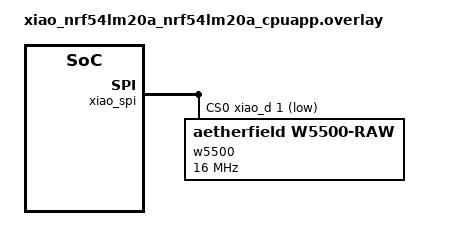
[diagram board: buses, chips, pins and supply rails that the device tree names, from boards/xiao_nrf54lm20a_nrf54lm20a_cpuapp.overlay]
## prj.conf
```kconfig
# Aetherfield gateway factory test — XIAO nRF54LM20A + W5500.
#
# Same build shape as the production gateway: raw 802.15.4, no Zephyr IP
# stack (the W5500 runs TCP/IP in silicon and is driven over SPI).

# --- 802.15.4 raw mode ------------------------------------------------------
CONFIG_NETWORKING=y
CONFIG_IEEE802154=y
CONFIG_IEEE802154_RAW_MODE=y
CONFIG_NET_PKT_TIMESTAMP=y
CONFIG_NRF_802154_RX_BUFFERS=16

CONFIG_MAIN_STACK_SIZE=4096
CONFIG_HEAP_MEM_POOL_SIZE=8192

# --- W5500 ------------------------------------------------------------------
CONFIG_SPI=y
CONFIG_GPIO=y
CONFIG_HWINFO=y

# --- console / shell (USB-C, via the onboard SAMD11) ------------------------
CONFIG_SHELL=y
CONFIG_SHELL_BACKEND_SERIAL=y
CONFIG_SHELL_VT100_COLORS=n
CONFIG_SHELL_PROMPT_UART="test> "

CONFIG_LOG=y
CONFIG_LOG_MODE_DEFERRED=y

# The board's nPM1300 PMIC provides the 3V3 rail; keep regulators enabled.
CONFIG_REGULATOR=y
```

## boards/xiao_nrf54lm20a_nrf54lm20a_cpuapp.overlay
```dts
/*
 * Aetherfield gateway factory test — Seeed XIAO nRF54LM20A on the Seeed XIAO
 * W5500 Ethernet Adapter. Pinout matches the production gateway firmware.
 *
 *   W5500 SCK   D8    P1.04   |
 *   W5500 MISO  D9    P1.05   |  spi23 (xiao_spi), the XIAO SPI header
 *   W5500 MOSI  D10   P1.06   |
 *   W5500 CS    D1    P1.31
 *   W5500 INT   not routed  -> test 4 reports SKIP
 *   W5500 RST   not routed  -> software reset (MR bit 7)
 *
 * >>> If the adapter is ever revised to route INT or RST to the XIAO, add
 * >>> int-gpios / reset-gpios below (e.g. <&xiao_d 2 GPIO_ACTIVE_LOW>) and the
 * >>> test will exercise them. That is the only edit this file should need.
 */

&xiao_spi {
	status = "okay";
	cs-gpios = <&xiao_d 1 GPIO_ACTIVE_LOW>;          /* W5500 CS -> D1 */

	w5500: w5500@0 {
		compatible = "aetherfield,w5500-raw";
		reg = <0>;
		spi-max-frequency = <16000000>;
	};
};

/* Native USB is unused (console goes through the onboard SAMD11 on uart20).
 * Disable the wrapper as well as the device, as in the gateway firmware. */
&usbhs_wrapper {
	status = "disabled";
};

&usbhs {
	status = "disabled";
};

/* The plain (non-Sense) XIAO has no IMU fitted; stop its driver logging an
 * error on every boot. */
&lsm6ds3tr_c {
	status = "disabled";
};
```

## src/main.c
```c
/*
 * Aetherfield gateway — factory test firmware.
 * Target: Seeed XIAO nRF54LM20A on the XIAO W5500 Ethernet adapter.
 *
 * Needs no server and no Aetherfield infrastructure. On boot it runs every
 * check once, prints a PASS/FAIL report on the USB-C serial console
 * (115200 8N1), and shows the result on the XIAO's RGB LED:
 *
 *   blue   test running
 *   green  all checks passed (blinks once a second while idle)
 *   red    one or more checks failed (fast blink)
 *
 * After the report it keeps running: the W5500 answers ping on its static IP,
 * the radio broadcasts a test frame every second, and a status line is
 * printed every 5 seconds. Type 'help' at the console for commands.
 */

#include <zephyr/kernel.h>
#include <zephyr/device.h>
#include <zephyr/drivers/gpio.h>
#include <zephyr/drivers/hwinfo.h>
#include <zephyr/shell/shell.h>
#include <zephyr/sys/printk.h>
#include <stdarg.h>
#include <stdlib.h>
#include <string.h>

#include "w5500.h"
#include "radio.h"

#define FW_VERSION "1.0.0"

/* Default static address. Change at the console with: ip <a.b.c.d> */
static uint8_t g_ip[4]   = { 192, 168, 1, 200 };
static uint8_t g_mask[4] = { 255, 255, 255, 0 };
static uint8_t g_gw[4]   = { 192, 168, 1, 1 };

#define LINK_WAIT_MS     10000
#define RADIO_TX_FRAMES  5

/* ---- LEDs ---------------------------------------------------------------- */

static const struct gpio_dt_spec led_b = GPIO_DT_SPEC_GET(DT_ALIAS(led0), gpios);
static const struct gpio_dt_spec led_r = GPIO_DT_SPEC_GET(DT_ALIAS(led1), gpios);
static const struct gpio_dt_spec led_g = GPIO_DT_SPEC_GET(DT_ALIAS(led2), gpios);

static void led(bool r, bool g, bool b)
{
	gpio_pin_set_dt(&led_r, r);
	gpio_pin_set_dt(&led_g, g);
	gpio_pin_set_dt(&led_b, b);
}

/* ---- identity ------------------------------------------------------------ */

static uint8_t g_devid[8];
static uint8_t g_mac[6];

static void read_identity(void)
{
	uint8_t id[16] = { 0 };
	ssize_t n = hwinfo_get_device_id(id, sizeof(id));

	if (n < 8) {
		memset(id, 0xAE, sizeof(id));
		n = 8;
	}
	memcpy(g_devid, id, 8);

	/* Same derivation as the production gateway: locally administered,
	 * unicast, unique per unit with no provisioning. */
	g_mac[0] = 0x02;
	for (int i = 1; i < 6; i++) {
		g_mac[i] = id[(n - i) % n];
	}
}

/* ---- test run ------------------------------------------------------------ */

enum res { R_PASS, R_FAIL, R_SKIP, R_INFO };
static const char *const res_str[] = { "PASS", "FAIL", "SKIP", "INFO" };

static int g_failures;
static bool g_last_pass;

static void report(int n, const char *name, enum res r, const char *fmt, ...)
{
	char detail[96];
	va_list ap;

	va_start(ap, fmt);
	vsnprintk(detail, sizeof(detail), fmt, ap);
	va_end(ap);

	printk("[%d] %-15s %-44s %s\n", n, name, detail, res_str[r]);
	if (r == R_FAIL) {
		g_failures++;
	}
}

static void run_tests(void)
{
	g_failures = 0;
	led(false, false, true);

	printk("\n==================================================================\n");
	printk(" AETHERFIELD GATEWAY FACTORY TEST  fw %s\n", FW_VERSION);
	printk(" Board     XIAO nRF54LM20A + W5500\n");
	printk(" Device ID %02X%02X%02X%02X%02X%02X%02X%02X\n",
	       g_devid[0], g_devid[1], g_devid[2], g_devid[3],
	       g_devid[4], g_devid[5], g_devid[6], g_devid[7]);
	printk(" MAC       %02X:%02X:%02X:%02X:%02X:%02X\n",
	       g_mac[0], g_mac[1], g_mac[2], g_mac[3], g_mac[4], g_mac[5]);
	printk(" IP        %u.%u.%u.%u / %u.%u.%u.%u\n",
	       g_ip[0], g_ip[1], g_ip[2], g_ip[3],
	       g_mask[0], g_mask[1], g_mask[2], g_mask[3]);
	printk("==================================================================\n");

	/* 1. W5500 present and answering on SPI. */
	int ver = w5500_reset_and_version();
	bool w5500_ok = (ver == 0x04);

	if (ver < 0) {
		report(1, "W5500 SPI", R_FAIL, "SPI error %d", ver);
	} else {
		report(1, "W5500 SPI", w5500_ok ? R_PASS : R_FAIL,
		       "VERSIONR=0x%02X (expect 0x04)%s", ver,
		       w5500_has_reset_pin() ? "" : ", no RST pin");
	}
	if (!w5500_ok) {
		printk("    -> check SCK/MISO/MOSI on D8/D9/D10, CS pin in the\n"
		       "       overlay, and 3V3 at the W5500. 0x00/0xFF = no response.\n");
	}

	/* 2. Data integrity across the bus. */
	if (w5500_ok) {
		int bad = w5500_spi_integrity();

		report(2, "SPI integrity", bad == 0 ? R_PASS : R_FAIL,
		       bad < 0 ? "bus error" : "70 bytes written/read, %d mismatched",
		       bad);
		w5500_configure(g_mac, g_ip, g_mask, g_gw);
	} else {
		report(2, "SPI integrity", R_SKIP, "needs test 1");
	}

	/* 3. Ethernet PHY link. */
	bool link_ok = false;

	if (w5500_ok) {
		uint8_t phy = 0;
		int waited = 0;

		while (waited < LINK_WAIT_MS) {
			phy = w5500_phycfgr();
			if (phy & 0x01) {
				break;
			}
			k_msleep(100);
			waited += 100;
		}
		link_ok = (phy & 0x01) != 0;
		if (link_ok) {
			report(3, "Ethernet link", R_PASS, "%s %s-duplex",
			       (phy & 0x02) ? "100M" : "10M",
			       (phy & 0x04) ? "full" : "half");
		} else {
			report(3, "Ethernet link", R_FAIL,
			       "no link after %d s - cable/switch/magnetics",
			       LINK_WAIT_MS / 1000);
		}
	} else {
		report(3, "Ethernet link", R_SKIP, "needs test 1");
	}

	/* 4. INTn wiring. */
	if (!w5500_ok) {
		report(4, "W5500 INT", R_SKIP, "needs test 1");
	} else if (!link_ok) {
		/* The INT test provokes a SEND_OK interrupt with a UDP broadcast,
		 * which needs the PHY up to complete reliably. */
		report(4, "W5500 INT", R_SKIP, "needs Ethernet link (test 3)");
	} else {
		int r = w5500_int_test();

		if (r == -ENOTSUP) {
			report(4, "W5500 INT", R_SKIP, "no int-gpios in overlay");
		} else if (r == 0) {
			report(4, "W5500 INT", R_PASS, "asserted and released");
		} else if (r == -EBUSY) {
			report(4, "W5500 INT", R_FAIL, "stuck low / wrong pin");
		} else {
			report(4, "W5500 INT", R_FAIL, "never asserted / wrong pin");
		}
	}

	/* 5. Radio transmit. */
	int ok = 0;

	for (int i = 0; i < RADIO_TX_FRAMES; i++) {
		if (radio_send_test_frame() == 0) {
			ok++;
		}
		k_msleep(20);
	}
	report(5, "802.15.4 TX", ok == RADIO_TX_FRAMES ? R_PASS : R_FAIL,
	       "%d/%d frames sent, ch %u, +8 dBm", ok, RADIO_TX_FRAMES,
	       radio_channel());

	/* 6. Radio receive — informational; needs a second unit running this
	 * test within range on the same channel. */
	struct radio_stats st;

	radio_get_stats(&st);
	if (st.rx_peer) {
		report(6, "802.15.4 RX", R_PASS, "peer %02X%02X%02X%02X heard, RSSI %d dBm",
		       st.last_peer_id[0], st.last_peer_id[1],
		       st.last_peer_id[2], st.last_peer_id[3], st.last_peer_rssi);
	} else {
		report(6, "802.15.4 RX", R_INFO,
		       "no peer yet (%u frames heard) - see status", st.rx_total);
	}

	printk("------------------------------------------------------------------\n");
	printk(" RESULT: %s  (%d failure%s)\n", g_failures ? "FAIL" : "PASS",
	       g_failures, g_failures == 1 ? "" : "s");
	printk("------------------------------------------------------------------\n");
	printk(" Next: ping %u.%u.%u.%u from a PC on the same subnet.\n",
	       g_ip[0], g_ip[1], g_ip[2], g_ip[3]);
	printk(" Radio RX: run a second unit; its ID appears in the status line.\n");
	printk(" Type 'help' for commands, 'test' to run again.\n\n");

	g_last_pass = (g_failures == 0);
}

/* ---- shell ---------------------------------------------------------------- */

static atomic_t g_req_test;
static atomic_t g_req_reconf;

static int parse_ip(const char *s, uint8_t out[4])
{
	for (int i = 0; i < 4; i++) {
		char *end;
		long v = strtol(s, &end, 10);

		if (end == s || v < 0 || v > 255 || (i < 3 && *end != '.') ||
		    (i == 3 && *end != '\0')) {
			return -EINVAL;
		}
		out[i] = (uint8_t)v;
		s = end + 1;
	}
	return 0;
}

static int c_test(const struct shell *sh, size_t argc, char **argv)
{
	atomic_set(&g_req_test, 1);
	return 0;
}

static int c_ip(const struct shell *sh, size_t argc, char **argv)
{
	uint8_t ip[4], mask[4], gw[4];

	memcpy(mask, g_mask, 4);
	if (parse_ip(argv[1], ip) ||
	    (argc > 2 && parse_ip(argv[2], mask)) ||
	    (argc > 3 && parse_ip(argv[3], gw))) {
		shell_error(sh, "usage: ip <a.b.c.d> [mask] [gateway]");
		return -EINVAL;
	}
	if (argc <= 3) {
		memcpy(gw, ip, 4);
		gw[3] = 1;
	}
	memcpy(g_ip, ip, 4);
	memcpy(g_mask, mask, 4);
	memcpy(g_gw, gw, 4);
	atomic_set(&g_req_reconf, 1);
	shell_print(sh, "IP %u.%u.%u.%u mask %u.%u.%u.%u gw %u.%u.%u.%u",
		    ip[0], ip[1], ip[2], ip[3], mask[0], mask[1], mask[2], mask[3],
		    gw[0], gw[1], gw[2], gw[3]);
	return 0;
}

static int c_chan(const struct shell *sh, size_t argc, char **argv)
{
	int ch = atoi(argv[1]);

	if (radio_set_channel((uint8_t)ch)) {
		shell_error(sh, "channel must be 11..26");
		return -EINVAL;
	}
	radio_reset_stats();
	shell_print(sh, "radio channel %d (both units must match)", ch);
	return 0;
}

SHELL_CMD_ARG_REGISTER(test, NULL, "Run the full factory test again", c_test, 1, 0);
SHELL_CMD_ARG_REGISTER(ip, NULL, "Set static IP: ip <a.b.c.d> [mask] [gateway]",
		       c_ip, 2, 2);
SHELL_CMD_ARG_REGISTER(chan, NULL, "Radio channel: chan <11-26>", c_chan, 2, 0);

/* ---- main ------------------------------------------------------------------ */

int main(void)
{
	gpio_pin_configure_dt(&led_r, GPIO_OUTPUT_INACTIVE);
	gpio_pin_configure_dt(&led_g, GPIO_OUTPUT_INACTIVE);
	gpio_pin_configure_dt(&led_b, GPIO_OUTPUT_INACTIVE);
	led(false, false, true);

	read_identity();

	/* Let the USB serial bridge enumerate so the report isn't lost. */
	k_msleep(1500);

	int err = radio_init(FT_RADIO_CHANNEL_DEFAULT, g_devid);

	if (err) {
		printk("radio init failed: %d\n", err);
	}

	run_tests();

	uint32_t tick = 0;

	for (;;) {
		if (atomic_cas(&g_req_test, 1, 0)) {
			radio_reset_stats();
			run_tests();
		}
		if (atomic_cas(&g_req_reconf, 1, 0)) {
			w5500_configure(g_mac, g_ip, g_mask, g_gw);
		}

		radio_send_test_frame();

		/* LED heartbeat: green blink on pass, fast red on fail. */
		if (g_last_pass) {
			led(false, true, false);
			k_msleep(100);
			led(false, false, false);
			k_msleep(900);
		} else {
			for (int i = 0; i < 5; i++) {
				led(true, false, false);
				k_msleep(100);
				led(false, false, false);
				k_msleep(100);
			}
		}

		if (++tick % 5 == 0) {
			struct radio_stats st;
			uint8_t phy = w5500_phycfgr();

			radio_get_stats(&st);
			printk("[status] eth %s | radio ch%u tx %u/%u rx %u",
			       (phy & 0x01) ? ((phy & 0x02) ? "up 100M" : "up 10M")
					    : "DOWN",
			       radio_channel(), st.tx_ok, st.tx_ok + st.tx_fail,
			       st.rx_total);
			if (st.rx_peer) {
				printk(" | peer %02X%02X%02X%02X x%u rssi %d",
				       st.last_peer_id[0], st.last_peer_id[1],
				       st.last_peer_id[2], st.last_peer_id[3],
				       st.rx_peer, st.last_peer_rssi);
			}
			printk(" | %s\n", g_last_pass ? "PASS" : "FAIL");
		}
	}
	return 0;
}
```

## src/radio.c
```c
/*
 * 802.15.4 radio test, using the same raw-mode arrangement as the gateway
 * firmware: the application defines net_recv_data() and receives every frame.
 *
 * Each unit broadcasts a small test frame once a second on a dedicated PAN
 * (0xFAC7, not the Aetherfield network PAN). Any other unit running this test
 * hears it and reports the sender and RSSI, so two boards on a bench test
 * each other's TX and RX paths.
 */

#include <zephyr/kernel.h>
#include <zephyr/device.h>
#include <zephyr/net/ieee802154_radio.h>
#include <zephyr/net/net_pkt.h>
#include <zephyr/net/net_if.h>
#include <string.h>

#include "radio.h"

#define TEST_PAN    0xFAC7
#define TEST_MAGIC0 'A'
#define TEST_MAGIC1 'F'
#define TEST_MAGIC2 'T'

static const struct device *radio_dev = DEVICE_DT_GET(DT_CHOSEN(zephyr_ieee802154));
static const struct ieee802154_radio_api *api;

static uint8_t g_channel;
static uint8_t g_id[8];
static uint8_t g_seq;

static struct radio_stats g_stats;
static struct k_spinlock lock;

enum net_verdict ieee802154_handle_ack(struct net_if *iface, struct net_pkt *pkt)
{
	ARG_UNUSED(iface);
	ARG_UNUSED(pkt);
	return NET_DROP;
}

/*
 * Runs in the radio driver's context. Count and copy only — no logging, no
 * sleeping, no mutexes (that faulted the CPU on the band firmware).
 */
int net_recv_data(struct net_if *iface, struct net_pkt *pkt)
{
	ARG_UNUSED(iface);

	if (!pkt) {
		return -EINVAL;
	}

	struct net_buf *b = pkt->buffer;
	uint8_t *p = b ? b->data : NULL;
	size_t len = b ? b->len : 0;
	int8_t rssi = net_pkt_ieee802154_rssi_dbm(pkt);

	k_spinlock_key_t key = k_spin_lock(&lock);

	g_stats.rx_total++;

	/* FCF(2) SEQ(1) PAN(2) DST(2) SRC(2) | 'A' 'F' 'T' seq id[8] */
	if (p && len >= 9 + 3 + 1 + 8 &&
	    p[9] == TEST_MAGIC0 && p[10] == TEST_MAGIC1 && p[11] == TEST_MAGIC2 &&
	    memcmp(&p[13], g_id, 8) != 0) {
		g_stats.rx_peer++;
		g_stats.last_peer_rssi = rssi;
		memcpy(g_stats.last_peer_id, &p[13 + 4], 4);
	}
	k_spin_unlock(&lock, key);

	net_pkt_unref(pkt);
	return 0;
}

int radio_init(uint8_t channel, const uint8_t id[8])
{
	if (!device_is_ready(radio_dev)) {
		return -ENODEV;
	}
	api = radio_dev->api;
	if (!api) {
		return -ENODEV;
	}
	memcpy(g_id, id, 8);

	struct ieee802154_config cfg = { .promiscuous = true };

	api->configure(radio_dev, IEEE802154_CONFIG_PROMISCUOUS, &cfg);

	int err = radio_set_channel(channel);

	if (err) {
		return err;
	}
	api->set_txpower(radio_dev, 8);
	return api->start(radio_dev);
}

int radio_set_channel(uint8_t ch)
{
	if (ch < 11 || ch > 26) {
		return -EINVAL;
	}
	g_channel = ch;
	return api->set_channel(radio_dev, ch);
}

uint8_t radio_channel(void)
{
	return g_channel;
}

int radio_send_test_frame(void)
{
	uint8_t f[9 + 3 + 1 + 8];

	f[0] = 0x41;                 /* data frame, PAN ID compression */
	f[1] = 0x88;                 /* short dst + short src, 2006 */
	f[2] = g_seq;
	f[3] = TEST_PAN & 0xFF;  f[4] = TEST_PAN >> 8;
	f[5] = 0xFF;             f[6] = 0xFF;            /* broadcast */
	f[7] = g_id[6];          f[8] = g_id[7];
	f[9] = TEST_MAGIC0;  f[10] = TEST_MAGIC1;  f[11] = TEST_MAGIC2;
	f[12] = g_seq++;
	memcpy(&f[13], g_id, 8);

	struct net_pkt *pkt = net_pkt_alloc(K_NO_WAIT);

	if (!pkt) {
		return -ENOMEM;
	}
	if (net_pkt_alloc_buffer_raw(pkt, sizeof(f), K_NO_WAIT) < 0) {
		net_pkt_unref(pkt);
		return -ENOMEM;
	}
	net_pkt_cursor_init(pkt);
	net_pkt_write(pkt, f, sizeof(f));

	int err = api->tx(radio_dev, IEEE802154_TX_MODE_DIRECT, pkt, pkt->buffer);

	net_pkt_unref(pkt);

	k_spinlock_key_t key = k_spin_lock(&lock);

	if (err == 0) {
		g_stats.tx_ok++;
	} else {
		g_stats.tx_fail++;
	}
	k_spin_unlock(&lock, key);
	return err;
}

void radio_get_stats(struct radio_stats *out)
{
	k_spinlock_key_t key = k_spin_lock(&lock);

	*out = g_stats;
	k_spin_unlock(&lock, key);
}

void radio_reset_stats(void)
{
	k_spinlock_key_t key = k_spin_lock(&lock);

	memset(&g_stats, 0, sizeof(g_stats));
	k_spin_unlock(&lock, key);
}
```

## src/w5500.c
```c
/*
 * Minimal W5500 register driver for the factory test.
 *
 * SPI framing (datasheet §2.2): [addr_hi] [addr_lo] [control] [data...]
 * control = (block << 3) | (write << 2) | OM, OM 0 = variable-length burst.
 * Block 0 = common registers; socket n = regs n*4+1, TX n*4+2, RX n*4+3.
 */

#include <zephyr/kernel.h>
#include <zephyr/device.h>
#include <zephyr/drivers/spi.h>
#include <zephyr/drivers/gpio.h>
#include <string.h>
#include <errno.h>

#include "w5500.h"

#define W5500_NODE DT_NODELABEL(w5500)

static const struct spi_dt_spec spi = SPI_DT_SPEC_GET(W5500_NODE,
	SPI_WORD_SET(8) | SPI_OP_MODE_MASTER | SPI_TRANSFER_MSB);

#define HAVE_RST DT_NODE_HAS_PROP(W5500_NODE, reset_gpios)
#define HAVE_INT DT_NODE_HAS_PROP(W5500_NODE, int_gpios)

#if HAVE_RST
static const struct gpio_dt_spec rst = GPIO_DT_SPEC_GET(W5500_NODE, reset_gpios);
#endif
#if HAVE_INT
static const struct gpio_dt_spec intn = GPIO_DT_SPEC_GET(W5500_NODE, int_gpios);
#endif

#define BLK_COMMON        0x00
#define BLK_SOCK_REG(n)   ((n) * 4 + 1)
#define BLK_SOCK_TX(n)    ((n) * 4 + 2)

#define CR_MR        0x0000
#define CR_GAR       0x0001
#define CR_SUBR      0x0005
#define CR_SHAR      0x0009
#define CR_SIPR      0x000F
#define CR_SIR       0x0017
#define CR_SIMR      0x0018
#define CR_PHYCFGR   0x002E
#define CR_VERSIONR  0x0039

#define SR_MR        0x0000
#define SR_CR        0x0001
#define SR_IR        0x0002
#define SR_SR        0x0003
#define SR_PORT      0x0004
#define SR_DIPR      0x000C
#define SR_DPORT     0x0010
#define SR_TX_FSR    0x0020
#define SR_TX_WR     0x0024
#define SR_IMR       0x002C

#define Sn_MR_UDP    0x02
#define Sn_CR_OPEN   0x01
#define Sn_CR_CLOSE  0x10
#define Sn_CR_SEND   0x20
#define Sn_SR_UDP    0x22
#define Sn_IR_SENDOK 0x10
#define Sn_IR_TIMEOUT 0x08

#define UDP_SOCK     1
#define SCRATCH_SOCK 7

static int xfer(uint16_t addr, uint8_t block, bool write,
		const uint8_t *out, uint8_t *in, size_t len)
{
	uint8_t hdr[3] = {
		(uint8_t)(addr >> 8), (uint8_t)(addr & 0xFF),
		(uint8_t)((block << 3) | (write ? 0x04 : 0x00)),
	};
	struct spi_buf tx_bufs[2] = {
		{ .buf = hdr, .len = sizeof(hdr) },
		{ .buf = (void *)out, .len = len },
	};
	const struct spi_buf_set tx = { .buffers = tx_bufs, .count = write ? 2 : 1 };

	if (write) {
		return spi_write_dt(&spi, &tx);
	}

	uint8_t dump[3];
	struct spi_buf rx_bufs[2] = {
		{ .buf = dump, .len = sizeof(dump) },
		{ .buf = in, .len = len },
	};
	const struct spi_buf_set rx = { .buffers = rx_bufs, .count = 2 };

	return spi_transceive_dt(&spi, &tx, &rx);
}

static uint8_t rd8(uint16_t a, uint8_t b) { uint8_t v = 0; xfer(a, b, false, NULL, &v, 1); return v; }
static void wr8(uint16_t a, uint8_t b, uint8_t v) { xfer(a, b, true, &v, NULL, 1); }
static void wr16(uint16_t a, uint8_t b, uint16_t v)
{
	uint8_t d[2] = { v >> 8, v & 0xFF };
	xfer(a, b, true, d, NULL, 2);
}
static uint16_t rd16(uint16_t a, uint8_t b)
{
	uint8_t d[2];
	uint16_t prev, cur;

	xfer(a, b, false, NULL, d, 2);
	prev = (d[0] << 8) | d[1];
	for (int i = 0; i < 8; i++) {
		xfer(a, b, false, NULL, d, 2);
		cur = (d[0] << 8) | d[1];
		if (cur == prev) {
			return cur;
		}
		prev = cur;
	}
	return prev;
}

static void sock_cmd(int s, uint8_t cmd)
{
	wr8(SR_CR, BLK_SOCK_REG(s), cmd);
	for (int i = 0; i < 1000 && rd8(SR_CR, BLK_SOCK_REG(s)); i++) {
		k_busy_wait(10);
	}
}

bool w5500_has_reset_pin(void) { return HAVE_RST; }
bool w5500_has_int_pin(void) { return HAVE_INT; }

int w5500_reset_and_version(void)
{
	if (!spi_is_ready_dt(&spi)) {
		return -ENODEV;
	}

#if HAVE_RST
	if (!gpio_is_ready_dt(&rst)) {
		return -ENODEV;
	}
	gpio_pin_configure_dt(&rst, GPIO_OUTPUT_ACTIVE);  /* RSTn low */
	k_msleep(2);                                      /* >500 us */
	gpio_pin_set_dt(&rst, 0);                         /* release */
	k_msleep(100);                                    /* PLL lock < 50 ms */
#endif
#if HAVE_INT
	if (gpio_is_ready_dt(&intn)) {
		gpio_pin_configure_dt(&intn, GPIO_INPUT);
	}
#endif

	wr8(CR_MR, BLK_COMMON, 0x80);                     /* software reset */
	k_msleep(10);

	uint8_t v;
	int err = xfer(CR_VERSIONR, BLK_COMMON, false, NULL, &v, 1);

	return err < 0 ? err : v;
}

int w5500_spi_integrity(void)
{
	static const uint8_t reg_pat[6] = { 0xA5, 0x5A, 0xFF, 0x00, 0xC3, 0x3C };
	uint8_t buf_pat[64], back[64];
	int bad = 0;

	/* Scratch registers: socket 7 destination IP + port (4+2 bytes, free
	 * to write while the socket is closed). Exercises MOSI/MISO with
	 * all-ones, all-zeros and alternating bit patterns. */
	xfer(SR_DIPR, BLK_SOCK_REG(SCRATCH_SOCK), true, reg_pat, NULL, 4);
	xfer(SR_DPORT, BLK_SOCK_REG(SCRATCH_SOCK), true, reg_pat + 4, NULL, 2);
	memset(back, 0, sizeof(back));
	xfer(SR_DIPR, BLK_SOCK_REG(SCRATCH_SOCK), false, NULL, back, 4);
	xfer(SR_DPORT, BLK_SOCK_REG(SCRATCH_SOCK), false, NULL, back + 4, 2);
	for (int i = 0; i < 6; i++) {
		bad += (back[i] != reg_pat[i]);
	}

	/* 64-byte burst into socket 7's TX buffer memory and back: catches
	 * clock/timing problems that a single-byte read hides. */
	for (int i = 0; i < 64; i++) {
		buf_pat[i] = (uint8_t)(i * 37 + 11);
	}
	xfer(0x0000, BLK_SOCK_TX(SCRATCH_SOCK), true, buf_pat, NULL, 64);
	memset(back, 0, sizeof(back));
	if (xfer(0x0000, BLK_SOCK_TX(SCRATCH_SOCK), false, NULL, back, 64) < 0) {
		return -EIO;
	}
	for (int i = 0; i < 64; i++) {
		bad += (back[i] != buf_pat[i]);
	}

	/* Leave the scratch registers clean. */
	static const uint8_t zero[6];
	xfer(SR_DIPR, BLK_SOCK_REG(SCRATCH_SOCK), true, zero, NULL, 4);
	xfer(SR_DPORT, BLK_SOCK_REG(SCRATCH_SOCK), true, zero, NULL, 2);
	return bad;
}

int w5500_configure(const uint8_t mac[6], const uint8_t ip[4],
		    const uint8_t mask[4], const uint8_t gw[4])
{
	xfer(CR_SHAR, BLK_COMMON, true, mac, NULL, 6);
	xfer(CR_SIPR, BLK_COMMON, true, ip, NULL, 4);
	xfer(CR_SUBR, BLK_COMMON, true, mask, NULL, 4);
	return xfer(CR_GAR, BLK_COMMON, true, gw, NULL, 4);
}

uint8_t w5500_phycfgr(void)
{
	return rd8(CR_PHYCFGR, BLK_COMMON);
}

int w5500_udp_broadcast(const uint8_t *buf, size_t len, uint16_t port)
{
	static const uint8_t bcast[4] = { 255, 255, 255, 255 };
	const uint8_t s = UDP_SOCK;

	sock_cmd(s, Sn_CR_CLOSE);
	wr8(SR_MR, BLK_SOCK_REG(s), Sn_MR_UDP);
	wr16(SR_PORT, BLK_SOCK_REG(s), port);
	sock_cmd(s, Sn_CR_OPEN);
	if (rd8(SR_SR, BLK_SOCK_REG(s)) != Sn_SR_UDP) {
		return -EIO;
	}

	xfer(SR_DIPR, BLK_SOCK_REG(s), true, bcast, NULL, 4);
	wr16(SR_DPORT, BLK_SOCK_REG(s), port);

	if (rd16(SR_TX_FSR, BLK_SOCK_REG(s)) < len) {
		return -ENOMEM;
	}
	uint16_t wr = rd16(SR_TX_WR, BLK_SOCK_REG(s));

	xfer(wr, BLK_SOCK_TX(s), true, buf, NULL, len);
	wr16(SR_TX_WR, BLK_SOCK_REG(s), wr + len);
	sock_cmd(s, Sn_CR_SEND);
	return 0;
}

int w5500_int_test(void)
{
#if !HAVE_INT
	return -ENOTSUP;
#else
	const uint8_t s = UDP_SOCK;
	static const uint8_t msg[] = "AETHERFIELD-FACTORY-TEST\n";
	int ret = -EIO;

	/* Only socket 1, only SEND_OK, routed to INTn. */
	wr8(SR_IMR, BLK_SOCK_REG(s), Sn_IR_SENDOK);
	wr8(SR_IR, BLK_SOCK_REG(s), 0xFF);
	wr8(CR_SIMR, BLK_COMMON, BIT(s));

	if (gpio_pin_get_dt(&intn) != 0) {
		/* Asserted before we did anything: stuck low or wrong pin. */
		ret = -EBUSY;
		goto out;
	}

	if (w5500_udp_broadcast(msg, sizeof(msg) - 1, 9) < 0) {
		goto out;
	}

	for (int i = 0; i < 200; i++) {
		if (gpio_pin_get_dt(&intn) == 1) {        /* active-low: asserted */
			ret = 0;
			break;
		}
		k_msleep(1);
	}
	if (ret != 0) {
		goto out;
	}

	/* Clear it and make sure the line is released. */
	wr8(SR_IR, BLK_SOCK_REG(s), 0xFF);
	k_msleep(2);
	if (gpio_pin_get_dt(&intn) != 0) {
		ret = -EBUSY;
	}

out:
	wr8(CR_SIMR, BLK_COMMON, 0);
	wr8(SR_IR, BLK_SOCK_REG(s), 0xFF);
	sock_cmd(s, Sn_CR_CLOSE);
	return ret;
#endif
}
```
